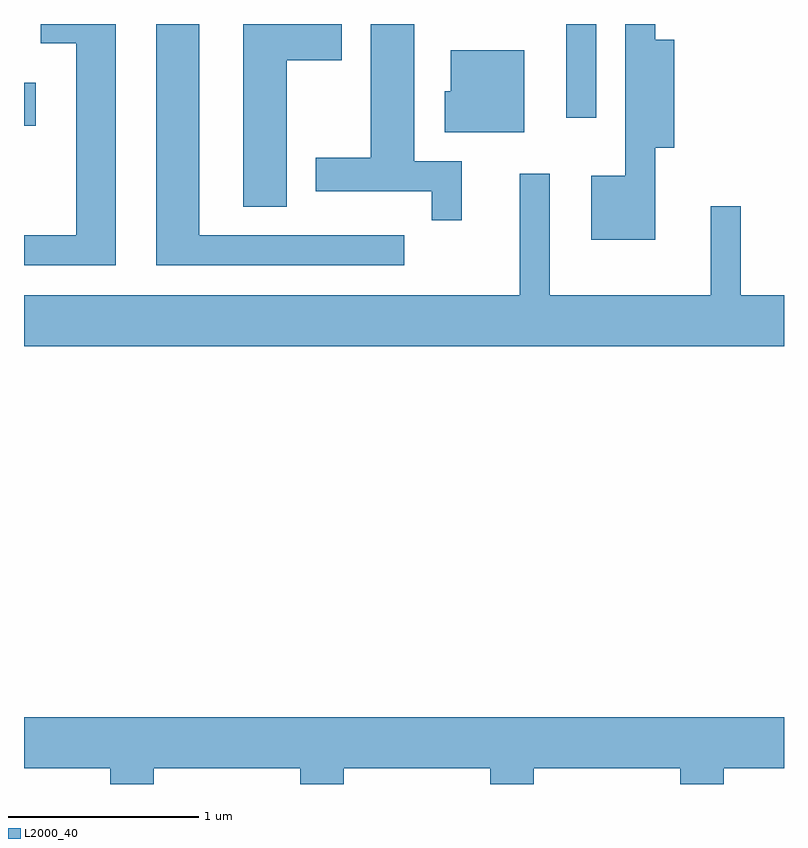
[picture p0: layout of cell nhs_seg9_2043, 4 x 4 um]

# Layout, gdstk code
import gdstk
lib = gdstk.Library(unit=1e-6, precision=1e-09)
def R(c, l, rs):  # rectangles x0, y0, x1, y1
    for r in rs: c.add(gdstk.rectangle(r[:2], r[2:], *l))
def P(c, l, *ps):  # polygons
    for p in ps: c.add(gdstk.Polygon(p, *l))
L2000_40 = (2000, 40)

nhs_seg9_2043 = lib.new_cell('nhs_seg9_2043')
R(nhs_seg9_2043, L2000_40, [(245.611,1961.896,245.674,1962.124), (248.466,1961.938,248.624,1962.432)])
P(nhs_seg9_2043, L2000_40, [(248.934,1961.781),(249.034,1961.781),(249.034,1962.349),(248.934,1962.349),(248.934,1962.432),(248.776,1962.432),(248.776,1961.634),(248.596,1961.634),(248.596,1961.296),(248.934,1961.296)],
  [(246.094,1962.432),(245.698,1962.432),(245.698,1962.331),(245.886,1962.331),(245.886,1961.319),(245.611,1961.319),(245.611,1961.161),(246.094,1961.161)],
  [(247.613,1961.319),(246.534,1961.319),(246.534,1962.432),(246.306,1962.432),(246.306,1961.161),(247.613,1961.161)],
  [(246.994,1962.241),(247.284,1962.241),(247.284,1962.432),(246.766,1962.432),(246.766,1961.471),(246.994,1961.471)],
  [(247.914,1961.709),(247.664,1961.709),(247.664,1962.432),(247.436,1962.432),(247.436,1961.729),(247.146,1961.729),(247.146,1961.551),(247.756,1961.551),(247.756,1961.398),(247.914,1961.398)],
  [(248.244,1962.294),(247.856,1962.294),(247.856,1962.079),(247.826,1962.079),(247.826,1961.861),(248.244,1961.861)],
  [(249.611,1961.004),(249.384,1961.004),(249.384,1961.473),(249.226,1961.473),(249.226,1961.004),(248.379,1961.004),(248.379,1961.643),(248.221,1961.643),(248.221,1961.004),(245.611,1961.004),(245.611,1960.736),(249.611,1960.736)],
  [(246.294,1958.516),(247.066,1958.516),(247.066,1958.432),(247.294,1958.432),(247.294,1958.516),(248.066,1958.516),(248.066,1958.432),(248.294,1958.432),(248.294,1958.516),(249.066,1958.516),(249.066,1958.432),(249.294,1958.432),(249.294,1958.516),(249.611,1958.516),(249.611,1958.784),(245.611,1958.784),(245.611,1958.516),(246.066,1958.516),(246.066,1958.432),(246.294,1958.432)])

lib.write_gds('nhs_seg9_2043.gds')
